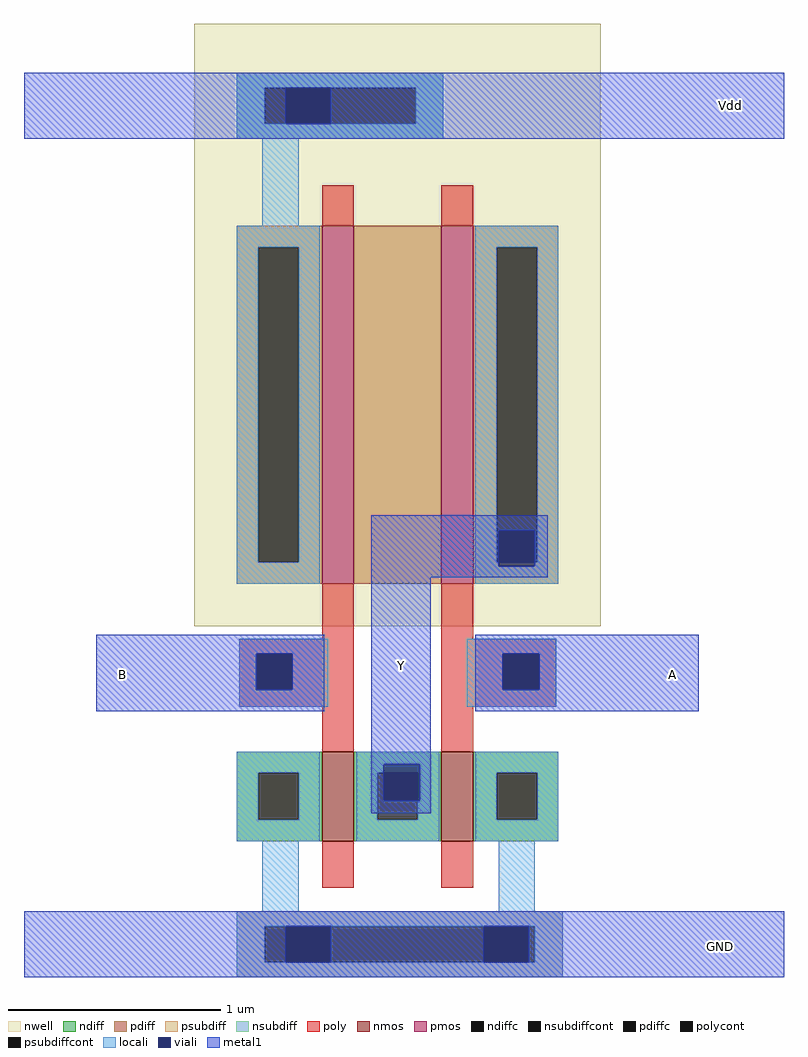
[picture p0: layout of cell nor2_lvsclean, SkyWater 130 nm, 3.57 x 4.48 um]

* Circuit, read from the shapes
.subckt nor2_lvsclean B A Y Vdd GND
XM1 Y B GND GND sky130_fd_pr__nfet_01v8 w=0.42 l=0.15
XM2 GND A Y GND sky130_fd_pr__nfet_01v8 w=0.42 l=0.15
XM3 n1 B Vdd Vdd sky130_fd_pr__pfet_01v8 w=1.68 l=0.15
XM4 Y A n1 Vdd sky130_fd_pr__pfet_01v8 w=1.68 l=0.15
.ends

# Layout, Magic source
magic
tech sky130A
<< nwell >>
rect -66 -59 125 224
<< nmos >>
rect -6 -160 9 -118
rect 50 -160 65 -118
<< pmos >>
rect -6 -39 9 129
rect 50 -39 65 129
<< ndiff >>
rect -46 -128 -6 -118
rect -46 -150 -36 -128
rect -17 -150 -6 -128
rect -46 -160 -6 -150
rect 9 -128 50 -118
rect 9 -150 20 -128
rect 39 -150 50 -128
rect 9 -160 50 -150
rect 65 -128 105 -118
rect 65 -150 76 -128
rect 95 -150 105 -128
rect 65 -160 105 -150
<< pdiff >>
rect -46 119 -6 129
rect -46 -29 -36 119
rect -17 -29 -6 119
rect -46 -39 -6 -29
rect 9 -39 50 129
rect 65 119 105 129
rect 65 -29 76 119
rect 95 -29 105 119
rect 65 -39 105 -29
<< ndiffc >>
rect -36 -150 -17 -128
rect 20 -150 39 -128
rect 76 -150 95 -128
<< pdiffc >>
rect -36 -29 -17 119
rect 76 -29 95 119
<< psubdiff >>
rect -46 -200 107 -193
rect -46 -217 -33 -200
rect 94 -217 107 -200
rect -46 -224 107 -217
<< nsubdiff >>
rect -46 194 51 201
rect -46 177 -33 194
rect 38 177 51 194
rect -46 170 51 177
<< psubdiffcont >>
rect -33 -217 94 -200
<< nsubdiffcont >>
rect -33 177 38 194
<< poly >>
rect -6 129 9 148
rect 50 129 65 148
rect -6 -65 9 -39
rect -45 -72 9 -65
rect -45 -89 -37 -72
rect -20 -89 9 -72
rect -45 -97 9 -89
rect -6 -118 9 -97
rect 50 -65 65 -39
rect 50 -72 104 -65
rect 50 -89 79 -72
rect 96 -89 104 -72
rect 50 -97 104 -89
rect 50 -118 65 -97
rect -6 -182 9 -160
rect 50 -182 65 -160
<< polycont >>
rect -37 -89 -20 -72
rect 79 -89 96 -72
<< locali >>
rect -46 194 51 201
rect -46 177 -33 194
rect 38 177 51 194
rect -46 170 51 177
rect -34 129 -17 170
rect -46 119 -7 129
rect -46 -29 -36 119
rect -17 -29 -7 119
rect -46 -39 -7 -29
rect 66 119 105 129
rect 66 -29 76 119
rect 95 -29 105 119
rect 66 -31 77 -29
rect 94 -31 105 -29
rect 66 -39 105 -31
rect -45 -72 -3 -65
rect -45 -89 -37 -72
rect -20 -89 -3 -72
rect -45 -97 -3 -89
rect 62 -72 104 -65
rect 62 -89 79 -72
rect 96 -89 104 -72
rect 62 -97 104 -89
rect -46 -128 -7 -118
rect -46 -150 -36 -128
rect -17 -150 -7 -128
rect -46 -160 -7 -150
rect 10 -124 49 -118
rect 10 -128 23 -124
rect 10 -150 20 -128
rect 40 -141 49 -124
rect 39 -150 49 -141
rect 10 -160 49 -150
rect 66 -128 105 -118
rect 66 -150 76 -128
rect 95 -150 105 -128
rect 66 -160 105 -150
rect -34 -193 -17 -160
rect 77 -193 94 -160
rect -46 -200 107 -193
rect -46 -217 -33 -200
rect 94 -217 107 -200
rect -46 -224 107 -217
<< viali >>
rect -23 177 -2 194
rect 77 -29 94 -14
rect 77 -31 94 -29
rect -37 -89 -20 -72
rect 79 -89 96 -72
rect 23 -128 40 -124
rect 23 -141 39 -128
rect 39 -141 40 -128
rect -23 -217 -2 -200
rect 70 -217 91 -200
<< metal1 >>
rect -146 194 211 201
rect -146 177 -23 194
rect -2 177 211 194
rect -146 170 211 177
rect 17 -14 100 -7
rect 17 -31 77 -14
rect 94 -31 100 -14
rect 17 -36 100 -31
rect -112 -72 -5 -63
rect -112 -89 -37 -72
rect -20 -89 -5 -72
rect -112 -99 -5 -89
rect 17 -124 45 -36
rect 66 -72 171 -63
rect 66 -89 79 -72
rect 96 -89 171 -72
rect 66 -99 171 -89
rect 17 -141 23 -124
rect 40 -141 45 -124
rect 17 -147 45 -141
rect -146 -200 211 -193
rect -146 -217 -23 -200
rect -2 -217 70 -200
rect 91 -217 211 -200
rect -146 -224 211 -217
<< labels >>
rlabel metal1 -102 -84 -97 -79 1 B
port 1 n
rlabel metal1 156 -84 161 -79 1 A
port 2 n
rlabel metal1 29 -80 34 -75 1 Y
port 3 n
rlabel metal1 181 180 191 191 1 Vdd
port 4 n
rlabel metal1 176 -215 186 -204 1 GND
port 5 n
<< end >>
